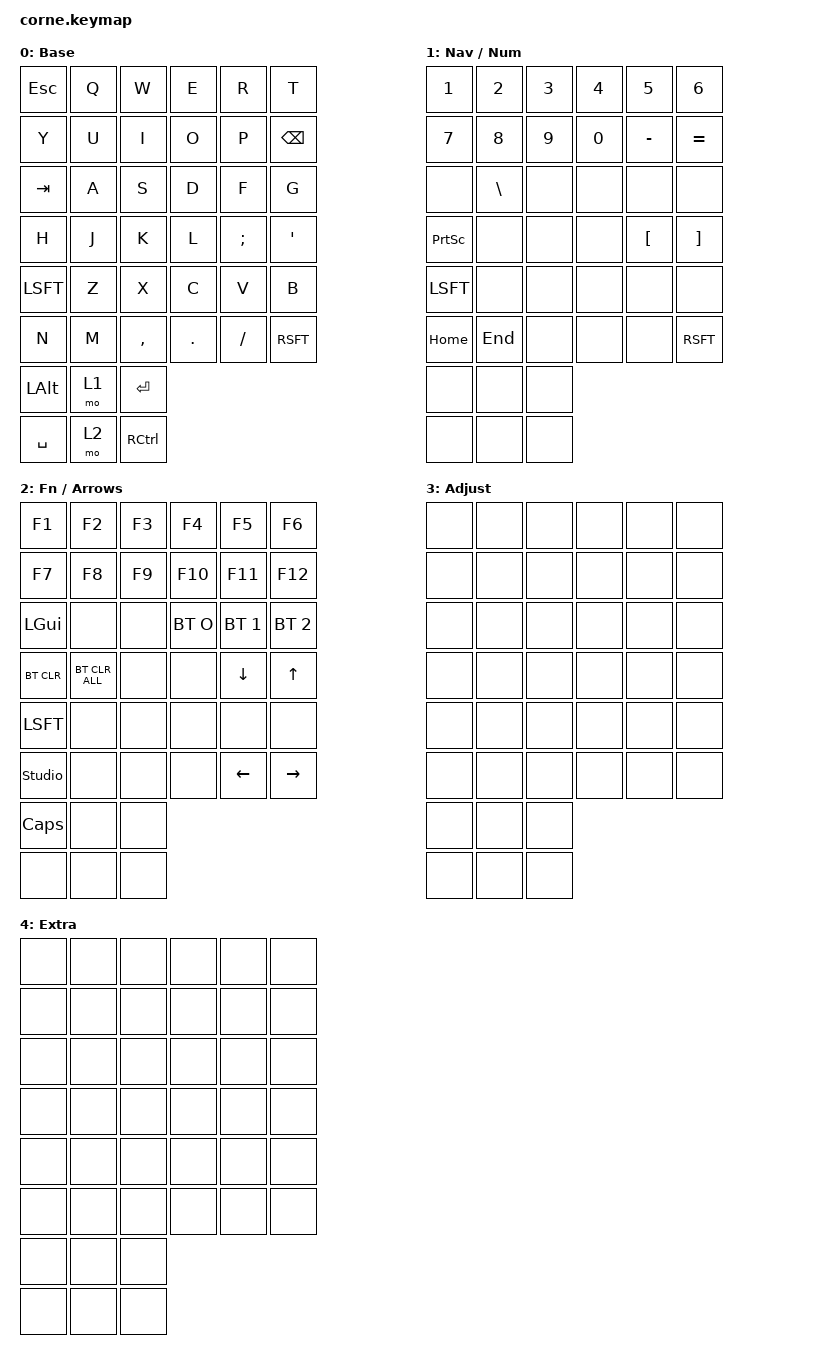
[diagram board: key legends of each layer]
#include <behaviors.dtsi>
#include <dt-bindings/zmk/bt.h>
#include <dt-bindings/zmk/keys.h>
#include <dt-bindings/zmk/pointing.h>

#define DEF 0
#define NAV 1
#define SYM 2
#define ADJ 3
#define EXTRA 4

/ {
    behaviors {
        hm: homerow_mods {
            compatible = "zmk,behavior-hold-tap";
            label = "HOMEROW_MODS";
            #binding-cells = <2>;
            tapping-term-ms = <200>;
            quick_tap_ms = <0>;
            flavor = "tap-preferred";
            bindings = <&kp>, <&kp>;
            quick-tap-ms = <180>;
            global-quick-tap;
        };

        para: para {
            compatible = "zmk,behavior-tap-dance";
            label = "PARA";
            #binding-cells = <0>;
            bindings = <&kp LEFT_PARENTHESIS>, <&kp RIGHT_PARENTHESIS>;
        };

        caps: caps {
            compatible = "zmk,behavior-caps-word";
            label = "CAPS";
            #binding-cells = <0>;
            continue-list = <MINUS BACKSPACE>;
        };

        paraless: paraless {
            compatible = "zmk,behavior-mod-morph";
            label = "PARALESS";
            bindings = <&kp LEFT_PARENTHESIS>, <&kp LESS_THAN>;
            #binding-cells = <0>;
            mods = <(MOD_LSFT)>;
        };

        paragreat: paragreat {
            compatible = "zmk,behavior-mod-morph";
            label = "PARAGREAT";
            bindings = <&kp RIGHT_PARENTHESIS>, <&kp GREATER_THAN>;
            #binding-cells = <0>;
            mods = <(MOD_LSFT)>;
        };
    };

    macros {
        browsertab: browsertab {
            compatible = "zmk,behavior-macro";
            #binding-cells = <0>;
            bindings =
                <&macro_press>,
                <&kp LCTRL>,
                <&macro_tap>,
                <&kp TAB>,
                <&macro_release>,
                <&kp LCTRL>;
        };
    };

    combos {
        compatible = "zmk,combos";
    };

    keymap {
        compatible = "zmk,keymap";

        /* ========================
           Layer 0 — BASE
           ======================== */
        DEF {
            display-name = "Base";
            bindings = <
                &kp ESC    &kp Q    &kp W    &kp E    &kp R    &kp T
                &kp Y      &kp U    &kp I    &kp O    &kp P    &kp BSPC

                &kp TAB    &kp A    &kp S    &kp D    &kp F    &kp G
                &kp H      &kp J    &kp K    &kp L    &kp SCLN &kp QUOT

                &kp LSFT   &kp Z    &kp X    &kp C    &kp V    &kp B
                &kp N      &kp M    &kp COMMA &kp DOT &kp SLASH &kp RSFT

                &kp LALT   &mo 1    &kp ENTER
                &kp SPACE  &mo 2    &kp RCTRL
            >;
        };

        /* ========================
           Layer 1
           ======================== */
        NAV {
            display-name = "Nav / Num";
            bindings = <
                &kp N1    &kp N2    &kp N3    &kp N4    &kp N5    &kp N6
                &kp N7    &kp N8    &kp N9    &kp N0    &kp MINUS &kp EQUAL

                &none  &kp BSLH     &none     &none     &none     &none
                &kp PSCRN &none     &none     &none     &kp LBKT  &kp RBKT

                &kp LSFT &none &none &none &none &none
                &kp HOME &kp END &none &none &none &kp RSFT

                &none &none &none
                &none &none &none
            >;
        };

        /* ========================
           Layer 2
           ======================== */
        SYM {
            display-name = "Fn / Arrows";
            bindings = <
                &kp F1  &kp F2  &kp F3  &kp F4  &kp F5  &kp F6
                &kp F7  &kp F8  &kp F9  &kp F10 &kp F11 &kp F12

                &kp LGUI &none &none &bt BT_SEL O &bt BT_SEL 1 &bt BT_SEL 2
                &bt BT_CLR &bt BT_CLR_ALL &none &none &kp DOWN &kp UP

                &kp LSFT &none &none &none &none &none
                &studio_unlock &none &none &none &kp LEFT &kp RIGHT

                &kp CAPSLOCK &none &none
                &none &none &none
            >;
        };

        /* ========================
           Layer 3 — Sin uso
           ======================== */
        ADJ {
            display-name = "Adjust";
            bindings = <
                &none &none &none &none &none &none
                &none &none &none &none &none &none

                &none &none &none &none &none &none
                &none &none &none &none &none &none

                &none &none &none &none &none &none
                &none &none &none &none &none &none

                &none &none &none
                &none &none &none
            >;
        };

        EXTRA {
            display-name = "Extra";
            bindings = <
                &none &none &none &none &none &none
                &none &none &none &none &none &none

                &none &none &none &none &none &none
                &none &none &none &none &none &none

                &none &none &none &none &none &none
                &none &none &none &none &none &none

                &none &none &none
                &none &none &none
            >;
        };
    };

    conditional_layers {
        compatible = "zmk,conditional-layers";
        l3 {
            if-layers = <1 2>;
            then-layer = <3>;
        };
    };
};
